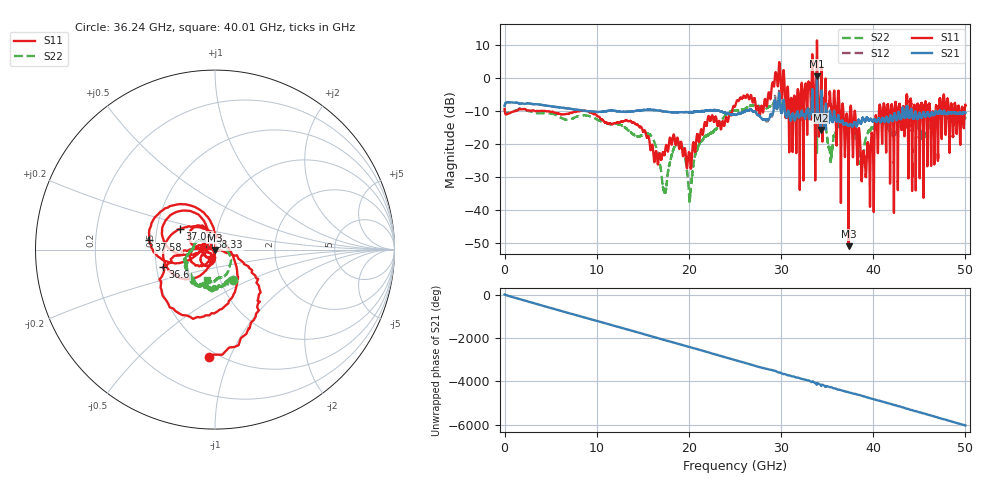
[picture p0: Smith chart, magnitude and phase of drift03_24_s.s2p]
!Created with skrf (http://scikit-rf.org).
# Hz S RI R 50.0
!freq ReS11 ImS11 ReS21 ImS21 ReS12 ImS12 ReS22 ImS22
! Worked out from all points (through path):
!   10001 points, 300 kHz to 50 GHz, reference 50 ohm
!   highest |S21| = 0.58 dB at 33.9 GHz (marker M1); lowest = -15.7 dB at 34.32 GHz (marker M2)
!   group delay of S21, straight-line fit = 335 ps
!   lowest |S11| = -50.8 dB at 37.32 GHz (marker M3), VSWR 1.01, Z = 49.9 - j0.254 ohm
!   |S11| at or under -10 dB: 4.471 GHz to 7.93 GHz (3.459 GHz wide, 55.8 % of centre); 9.014 GHz to 24.7 GHz (15.68 GHz wide, 93 % of centre); 38.02 GHz to 40.63 GHz (2.61 GHz wide, 6.64 % of centre) (the widest 3 of 62)
!   |S22| runs from -37.4 to -5.9 dB; largest |S21 - S12| = 0.11
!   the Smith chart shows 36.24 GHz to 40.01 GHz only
!   S11 on the Smith chart (normalised r, x): 36.24 GHz: 0.44, -0.84; 36.6 GHz: 0.54, -0.12; 37.04 GHz: 0.66, +0.16; 37.58 GHz: 0.46, +0.06; 38.33 GHz: 0.94, +0.13; 40.01 GHz: 0.95, -0.10
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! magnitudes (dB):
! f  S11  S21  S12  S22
! 300 kHz  -9.3  -8.4  -8.5  -9.3
! 8.335 GHz  -9.9  -9.8  -9.8  -11.3
! 16.67 GHz  -25.5  -9.8  -9.8  -23.4
! 17.38 GHz  -22.9  -10.1  -10.1  -34.6
! 19.05 GHz  -20.1  -10.3  -10.3  -19.9
! 20.12 GHz  -24.2  -10.3  -10.3  -36.1
! 21.19 GHz  -17.9  -10.1  -10.1  -19.5
! 25 GHz  -8.6  -11.1  -11.1  -9.8
! 31.08 GHz  -6.1  -12.7  -12.7  -10.5
! 33.34 GHz  0.4  -7.5  -7.6  -9.5
! 33.9 GHz  11.4  0.6  0.2  -22.6
! 34.32 GHz  -2.8  -15.7  -15.0  -11.3
! 35.34 GHz  -5.7  -10.4  -9.9  -24.5
! 36.24 GHz  -4.4  -11.8  -11.7  -14.2
! 36.6 GHz  -10.3  -13.1  -13.0  -13.6
! 37.04 GHz  -12.9  -13.8  -14.1  -14.0
! 37.32 GHz  -50.8  -14.4  -14.5  -13.6
! 37.58 GHz  -8.6  -13.9  -13.8  -14.1
! 38.33 GHz  -22.5  -13.2  -13.2  -19.4
! 40.01 GHz  -25.0  -13.0  -13.0  -15.1
! 41.67 GHz  -9.7  -13.3  -13.3  -15.1
! 50 GHz  -8.2  -10.5  -10.6  -12.2
